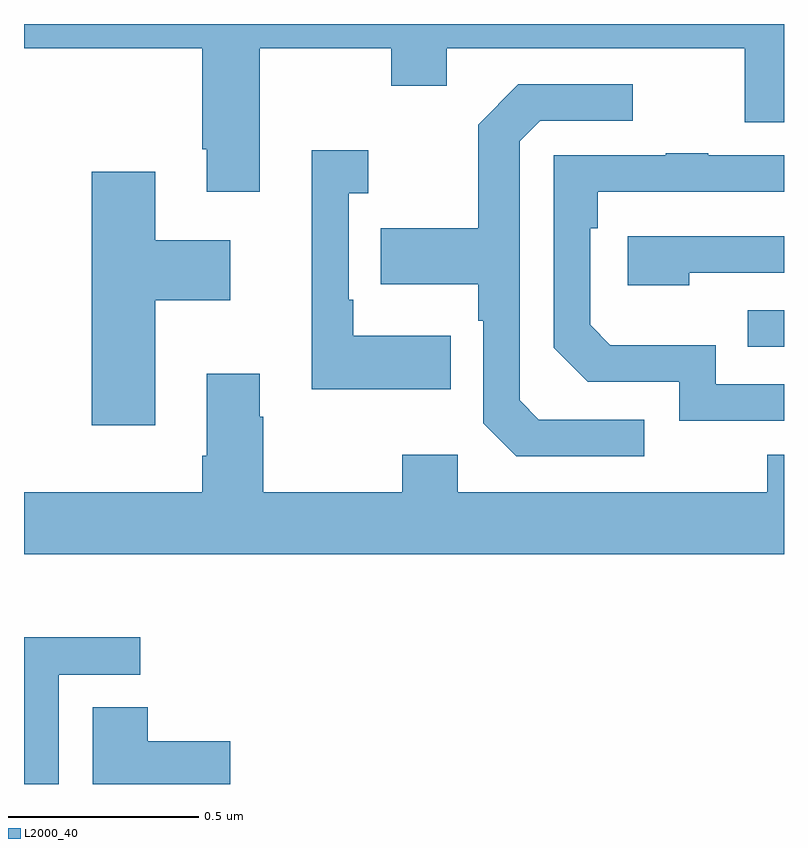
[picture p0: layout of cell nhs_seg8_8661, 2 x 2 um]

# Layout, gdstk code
import gdstk
lib = gdstk.Library(unit=1e-6, precision=1e-09)
def R(c, l, rs):  # rectangles x0, y0, x1, y1
    for r in rs: c.add(gdstk.rectangle(r[:2], r[2:], *l))
def P(c, l, *ps):  # polygons
    for p in ps: c.add(gdstk.Polygon(p, *l))
L2000_40 = (2000, 40)

nhs_seg8_8661 = lib.new_cell('nhs_seg8_8661')
R(nhs_seg8_8661, L2000_40, [(227.905,1113.051,228,1113.147)])
P(nhs_seg8_8661, L2000_40, [(226.621,1113.836),(226.966,1113.836),(226.966,1113.737),(227.113,1113.737),(227.113,1113.836),(227.897,1113.836),(227.897,1113.642),(228,1113.642),(228,1113.9),(226,1113.9),(226,1113.836),(226.469,1113.836),(226.469,1113.571),(226.481,1113.571),(226.481,1113.459),(226.621,1113.459)],
  [(227.632,1112.859),(227.355,1112.859),(227.304,1112.91),(227.304,1113.591),(227.358,1113.645),(227.602,1113.645),(227.602,1113.741),(227.301,1113.741),(227.196,1113.635),(227.196,1113.363),(226.939,1113.363),(226.939,1113.215),(227.196,1113.215),(227.196,1113.119),(227.208,1113.119),(227.208,1112.85),(227.295,1112.763),(227.632,1112.763)],
  [(227.123,1113.079),(226.867,1113.079),(226.867,1113.175),(226.854,1113.175),(226.854,1113.455),(226.906,1113.455),(226.906,1113.568),(226.757,1113.568),(226.757,1112.939),(227.123,1112.939)],
  [(228,1112.952),(227.82,1112.952),(227.82,1113.055),(227.543,1113.055),(227.49,1113.108),(227.49,1113.362),(227.51,1113.362),(227.51,1113.459),(228,1113.459),(228,1113.555),(227.801,1113.555),(227.801,1113.56),(227.689,1113.56),(227.689,1113.555),(227.394,1113.555),(227.394,1113.048),(227.484,1112.958),(227.724,1112.958),(227.724,1112.856),(228,1112.856)],
  [(226.345,1113.173),(226.543,1113.173),(226.543,1113.331),(226.345,1113.331),(226.345,1113.511),(226.178,1113.511),(226.178,1112.844),(226.345,1112.844)],
  [(227.75,1113.246),(228,1113.246),(228,1113.342),(227.589,1113.342),(227.589,1113.212),(227.75,1113.212)],
  [(228,1112.767),(227.956,1112.767),(227.956,1112.668),(227.142,1112.668),(227.142,1112.767),(226.996,1112.767),(226.996,1112.668),(226.629,1112.668),(226.629,1112.867),(226.621,1112.867),(226.621,1112.98),(226.481,1112.98),(226.481,1112.764),(226.469,1112.764),(226.469,1112.668),(226,1112.668),(226,1112.504),(228,1112.504)],
  [(226.092,1112.187),(226.306,1112.187),(226.306,1112.286),(226,1112.286),(226,1111.9),(226.092,1111.9)],
  [(226.543,1112.012),(226.325,1112.012),(226.325,1112.102),(226.181,1112.102),(226.181,1111.9),(226.543,1111.9)])

lib.write_gds('nhs_seg8_8661.gds')
